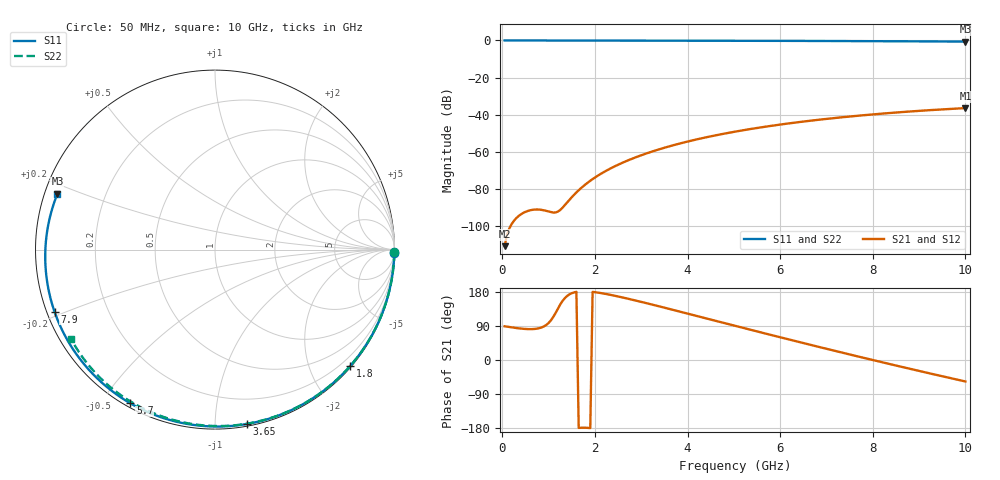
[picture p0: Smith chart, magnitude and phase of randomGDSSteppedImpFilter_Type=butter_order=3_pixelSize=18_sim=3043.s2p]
! freq	dB(S11)	phase(S11)	dB(S12)	phase(S12)
!  dB(S21)	phase(S21)	dB(S22)	phase(S22)
!S-par simulation data
#  GHz  S  DB  R 50
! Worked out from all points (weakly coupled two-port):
!   200 points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, 50 MHz to 10 GHz, reference 50 ohm
!   highest |S21| = -36.43 dB at 10 GHz (marker M1); lowest = -110.7 dB at 50 MHz (marker M2)
!   lowest |S11| = -0.6 dB at 10 GHz (marker M3), VSWR 28.15, Z = 1.83 + j8.59 ohm
!   |S11| at or under -10 dB: nowhere
!   |S22| runs from -0.5 to 0.0 dB; largest |S21 - S12| = 0
!   S11 on the Smith chart (normalised r, x): 50 MHz: open; 1.8 GHz: 0.02, -2.70; 3.65 GHz: 0.01, -1.20; 5.7 GHz: 0.02, -0.59; 7.9 GHz: 0.02, -0.19; 10 GHz: 0.04, +0.17
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0.05  -0.00 -1.1  -110.74 89.0  -110.74 89.0  -0.00 -0.8
0.45  -0.02 -10.3  -92.87 82.3  -92.87 82.3  -0.01 -7.7
0.8  -0.02 -18.3  -91.05 84.0  -91.05 84.0  -0.02 -13.6
1.2  -0.03 -27.4  -92.14 135.3  -92.14 135.3  -0.03 -20.3
1.65  -0.05 -37.4  -80.61 -179.2  -80.61 -179.2  -0.04 -27.8
1.7  -0.05 -38.5  -79.48 -178.8  -79.48 -178.8  -0.04 -28.6
1.75  -0.05 -39.6  -78.42 -178.6  -78.42 -178.6  -0.04 -29.5
1.8  -0.05 -40.7  -77.40 -178.7  -77.40 -178.7  -0.04 -30.3
2.1  -0.06 -47.2  -72.21 177.2  -72.21 177.2  -0.05 -35.2
2.45  -0.07 -54.8  -67.50 169.0  -67.50 169.0  -0.05 -40.9
2.9  -0.08 -64.3  -62.72 156.3  -62.72 156.3  -0.06 -48.1
3.4  -0.10 -74.5  -58.50 141.2  -58.50 141.2  -0.07 -56.0
3.65  -0.11 -79.6  -56.69 133.4  -56.69 133.4  -0.08 -59.9
4.35  -0.13 -93.4  -52.41 111.5  -52.41 111.5  -0.10 -70.5
5.05  -0.16 -106.8  -48.99 89.5  -48.99 89.5  -0.12 -80.9
5.7  -0.20 -118.8  -46.35 69.2  -46.35 69.2  -0.15 -90.2
6.7  -0.26 -137.0  -43.07 38.6  -43.07 38.6  -0.20 -104.2
7.3  -0.31 -147.9  -41.44 20.6  -41.44 20.6  -0.24 -112.3
7.9  -0.37 -158.9  -40.02 2.9  -40.02 2.9  -0.29 -120.4
8.35  -0.41 -167.2  -39.09 -10.2  -39.09 -10.2  -0.33 -126.4
9.2  -0.51 176.6  -37.57 -34.5  -37.57 -34.5  -0.41 -137.6
10  -0.62 160.5  -36.43 -56.7  -36.43 -56.7  -0.50 -148.3
